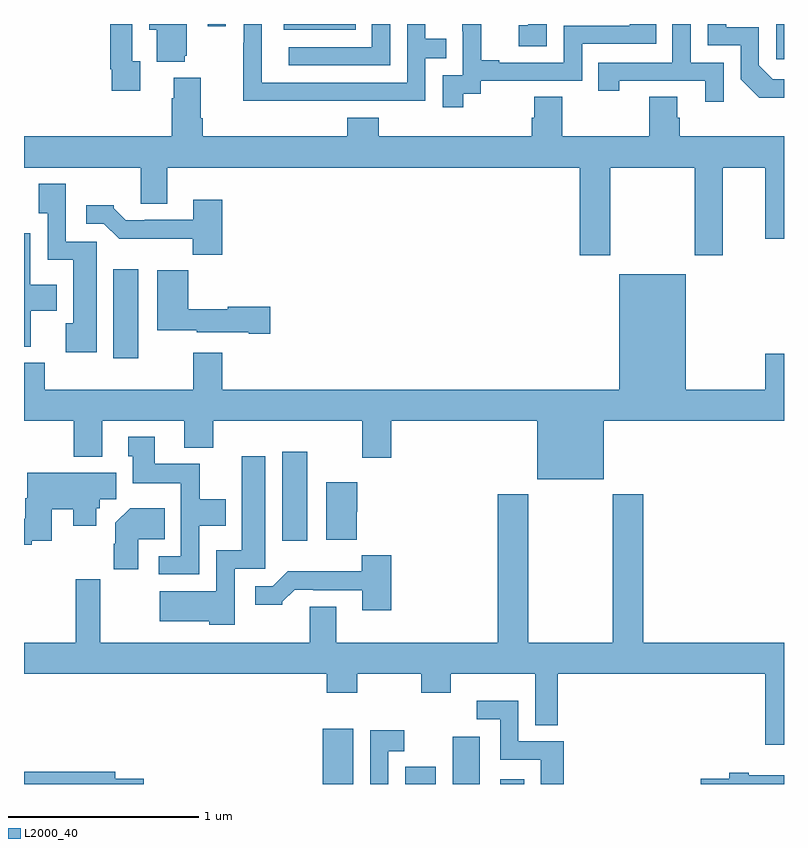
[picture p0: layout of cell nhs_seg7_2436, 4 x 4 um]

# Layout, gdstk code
import gdstk
lib = gdstk.Library(unit=1e-6, precision=1e-09)
def R(c, l, rs):  # rectangles x0, y0, x1, y1
    for r in rs: c.add(gdstk.rectangle(r[:2], r[2:], *l))
def P(c, l, *ps):  # polygons
    for p in ps: c.add(gdstk.Polygon(p, *l))
L2000_40 = (2000, 40)

nhs_seg7_2436 = lib.new_cell('nhs_seg7_2436')
R(nhs_seg7_2436, L2000_40, [(270.572,1036,270.733,1036.291), (271.007,1036,271.168,1036.092), (271.256,1036,271.399,1036.249), (271.506,1036,271.633,1036.024), (270.359,1037.28,270.49,1037.749), (269.471,1038.24,269.602,1038.709), (272.958,1039.815,273,1040), (270.368,1039.97,270.746,1040), (269.967,1039.989,270.063,1040)])
P(nhs_seg7_2436, L2000_40, [(270.927,1040),(270.831,1040),(270.831,1039.878),(270.393,1039.878),(270.393,1039.782),(270.927,1039.782)],
  [(269.846,1039.833),(269.857,1039.833),(269.857,1040),(269.66,1040),(269.66,1039.97),(269.699,1039.97),(269.699,1039.802),(269.846,1039.802)],
  [(271.312,1039.632),(271.404,1039.632),(271.404,1039.701),(271.938,1039.701),(271.938,1039.896),(272.327,1039.896),(272.327,1040),(272.187,1040),(272.187,1039.992),(271.842,1039.992),(271.842,1039.797),(271.501,1039.797),(271.501,1039.81),(271.406,1039.81),(271.406,1040),(271.307,1040),(271.307,1039.961),(271.308,1039.961),(271.308,1039.731),(271.203,1039.731),(271.203,1039.563),(271.312,1039.563)],
  [(269.611,1039.805),(269.571,1039.805),(269.571,1040),(269.455,1040),(269.455,1039.762),(269.463,1039.762),(269.463,1039.65),(269.611,1039.65)],
  [(273,1039.71),(272.94,1039.71),(272.868,1039.782),(272.868,1039.983),(272.695,1039.983),(272.695,1040),(272.598,1040),(272.598,1039.887),(272.772,1039.887),(272.772,1039.71),(272.87,1039.613),(273,1039.613)],
  [(272.682,1039.797),(272.508,1039.797),(272.508,1040),(272.412,1040),(272.412,1039.797),(272.023,1039.797),(272.023,1039.65),(272.134,1039.65),(272.134,1039.701),(272.585,1039.701),(272.585,1039.59),(272.682,1039.59)],
  [(271.752,1040),(271.654,1040),(271.654,1039.993),(271.605,1039.993),(271.605,1039.884),(271.752,1039.884)],
  [(270.617,1039.596),(271.113,1039.596),(271.113,1039.821),(271.223,1039.821),(271.223,1039.922),(271.113,1039.922),(271.113,1040),(271.017,1040),(271.017,1039.692),(270.252,1039.692),(270.252,1040),(270.156,1040),(270.156,1039.901),(270.154,1039.901),(270.154,1039.595),(270.617,1039.595)],
  [(272.085,1039.244),(272.53,1039.244),(272.53,1038.783),(272.677,1038.783),(272.677,1039.244),(272.9,1039.244),(272.9,1038.87),(273,1038.87),(273,1039.408),(272.45,1039.408),(272.45,1039.506),(272.437,1039.506),(272.437,1039.616),(272.29,1039.616),(272.29,1039.408),(271.833,1039.408),(271.833,1039.616),(271.685,1039.616),(271.685,1039.506),(271.673,1039.506),(271.673,1039.408),(270.866,1039.408),(270.866,1039.507),(270.701,1039.507),(270.701,1039.408),(269.942,1039.408),(269.942,1039.504),(269.929,1039.504),(269.929,1039.717),(269.789,1039.717),(269.789,1039.61),(269.777,1039.61),(269.777,1039.408),(269,1039.408),(269,1039.244),(269.615,1039.244),(269.615,1039.054),(269.755,1039.054),(269.755,1039.244),(271.925,1039.244),(271.925,1038.783),(272.085,1038.783)],
  [(269.383,1038.855),(269.22,1038.855),(269.22,1039.159),(269.077,1039.159),(269.077,1039.003),(269.124,1039.003),(269.124,1038.758),(269.258,1038.758),(269.258,1038.424),(269.22,1038.424),(269.22,1038.272),(269.383,1038.272)],
  [(270.044,1039.075),(269.891,1039.075),(269.891,1038.969),(269.635,1038.969),(269.635,1038.966),(269.536,1038.966),(269.472,1039.03),(269.472,1039.045),(269.328,1039.045),(269.328,1038.948),(269.421,1038.948),(269.5,1038.87),(269.889,1038.87),(269.889,1038.785),(270.044,1038.785)],
  [(269.036,1038.49),(269.173,1038.49),(269.173,1038.628),(269.034,1038.628),(269.034,1038.898),(269,1038.898),(269,1038.302),(269.036,1038.302)],
  [(270.295,1038.512),(270.072,1038.512),(270.072,1038.499),(269.864,1038.499),(269.864,1038.703),(269.702,1038.703),(269.702,1038.389),(269.91,1038.389),(269.91,1038.377),(270.182,1038.377),(270.182,1038.37),(270.295,1038.37)],
  [(272.05,1037.912),(273,1037.912),(273,1038.265),(272.9,1038.265),(272.9,1038.076),(272.482,1038.076),(272.482,1038.682),(272.132,1038.682),(272.132,1038.076),(270.044,1038.076),(270.044,1038.271),(269.891,1038.271),(269.891,1038.076),(269.108,1038.076),(269.108,1038.217),(269,1038.217),(269,1037.912),(269.261,1037.912),(269.261,1037.723),(269.413,1037.723),(269.413,1037.912),(269.843,1037.912),(269.843,1037.771),(269.996,1037.771),(269.996,1037.912),(270.779,1037.912),(270.779,1037.718),(270.932,1037.718),(270.932,1037.912),(271.7,1037.912),(271.7,1037.603),(272.05,1037.603)],
  [(269.922,1037.36),(270.061,1037.36),(270.061,1037.5),(269.925,1037.5),(269.925,1037.686),(269.689,1037.686),(269.689,1037.827),(269.549,1037.827),(269.549,1037.724),(269.573,1037.724),(269.573,1037.582),(269.826,1037.582),(269.826,1037.199),(269.709,1037.199),(269.709,1037.103),(269.922,1037.103)],
  [(270.108,1037.133),(270.271,1037.133),(270.271,1037.725),(270.146,1037.725),(270.146,1037.23),(270.012,1037.23),(270.012,1037.014),(269.715,1037.014),(269.715,1036.856),(269.976,1036.856),(269.976,1036.838),(270.108,1036.838)],
  [(269.042,1037.28),(269.146,1037.28),(269.146,1037.447),(269.258,1037.447),(269.258,1037.36),(269.38,1037.36),(269.38,1037.451),(269.398,1037.451),(269.398,1037.5),(269.485,1037.5),(269.485,1037.638),(269.018,1037.638),(269.018,1037.504),(269.006,1037.504),(269.006,1037.396),(269,1037.396),(269,1037.26),(269.042,1037.26)],
  [(270.752,1037.433),(270.754,1037.433),(270.754,1037.587),(270.59,1037.587),(270.59,1037.285),(270.752,1037.285)],
  [(273,1036.744),(272.258,1036.744),(272.258,1037.524),(272.098,1037.524),(272.098,1036.744),(271.653,1036.744),(271.653,1037.524),(271.493,1037.524),(271.493,1036.744),(270.643,1036.744),(270.643,1036.934),(270.503,1036.934),(270.503,1036.744),(269.401,1036.744),(269.401,1037.077),(269.272,1037.077),(269.272,1036.744),(269,1036.744),(269,1036.58),(270.593,1036.58),(270.593,1036.481),(270.753,1036.481),(270.753,1036.58),(271.09,1036.58),(271.09,1036.481),(271.245,1036.481),(271.245,1036.58),(271.691,1036.58),(271.691,1036.309),(271.81,1036.309),(271.81,1036.58),(272.9,1036.58),(272.9,1036.206),(273,1036.206)],
  [(269.602,1037.288),(269.741,1037.288),(269.741,1037.452),(269.558,1037.452),(269.48,1037.374),(269.48,1037.264),(269.473,1037.264),(269.473,1037.13),(269.602,1037.13)],
  [(270.932,1037.203),(270.777,1037.203),(270.777,1037.119),(270.388,1037.119),(270.309,1037.04),(270.216,1037.04),(270.216,1036.943),(270.36,1036.943),(270.36,1036.958),(270.424,1037.022),(270.523,1037.022),(270.523,1037.019),(270.779,1037.019),(270.779,1036.914),(270.932,1036.914)],
  [(271.84,1036.224),(271.602,1036.224),(271.602,1036.438),(271.383,1036.438),(271.383,1036.341),(271.506,1036.341),(271.506,1036.128),(271.721,1036.128),(271.721,1036),(271.84,1036)],
  [(270.918,1036.173),(271,1036.173),(271,1036.282),(270.822,1036.282),(270.822,1036),(270.918,1036)],
  [(269.629,1036.028),(269.479,1036.028),(269.479,1036.064),(269,1036.064),(269,1036),(269.629,1036)],
  [(273,1036.045),(272.815,1036.045),(272.815,1036.058),(272.711,1036.058),(272.711,1036.028),(272.562,1036.028),(272.562,1036),(273,1036)])

lib.write_gds('nhs_seg7_2436.gds')
